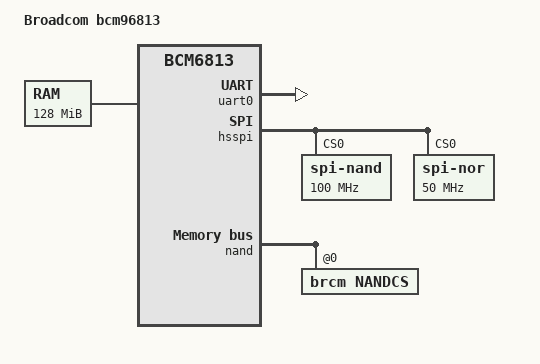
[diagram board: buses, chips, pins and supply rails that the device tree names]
// SPDX-License-Identifier: GPL-2.0+
/*
 *  Copyright 2020 Broadcom Ltd.
 */

/dts-v1/;

#include "bcm6813.dtsi"

/ {
	model = "Broadcom bcm96813";
	compatible = "broadcom,bcm96813", "brcm,bcm6813";

	aliases {
		serial0 = &uart0;
		spi1 = &hsspi;		
	};

	chosen {
		stdout-path = "serial0:115200n8";
	};

	memory {
		device_type = "memory";
		reg = <0x0 0x0 0x0 0x08000000>;
	};
	boot_state {
		u-boot,dm-pre-reloc;
		compatible = "brcm,bcmbca-bootstate-v2";
		reg-names = "reset_reason", "reset_status";
		reg =   <0x0 0xff802628 0x0 0x04>,
			<0x0 0xff85a01c 0x0 0x04>;
	};
};

&uart0 {
	u-boot,dm-pre-reloc;
	status = "okay";
};

&hsspi {
	status = "okay";
	spi-nand {
		pinctrl-0 = <&hs_spim_ss_0_b_pin_24>;
		pinctrl-names = "default";
		compatible = "spi-nand";
		reg = <0>;
		#address-cells = <1>;
		#size-cells = <0>;
		u-boot,dm-pre-reloc;
		spi-max-frequency = <100000000>;
	};

	spi-nor@0 {
		pinctrl-0 = <&hs_spim_ss_0_b_pin_24>;
		pinctrl-names = "default";
		compatible = "jedec,spi-nor";
		reg = <0>;
		#address-cells = <1>;
		#size-cells = <0>;
		spi-max-frequency = <50000000>;
		u-boot,dm-pre-reloc;
	};
};

&nand {
	pinctrl-0 = <&nand_data_pins &nand_ctrl_pins &nand_wp_b_pin_25>;
	pinctrl-names = "default";
	status = "okay";
	write-protect = <1>;
	#address-cells = <1>;
	#size-cells = <0>;

	nandcs@0 {
		compatible = "brcm,nandcs";
		reg = <0>;
	};
};

/* FIXME!
&rgmii {
	status = "okay";
};
*/

&mdio {
	phy_gphy0 {
		status = "okay";
	};

	phy_gphy1 {
		status = "okay";
	};

	phy_gphy2 {
		status = "okay";
	};

	phy_gphy3 {
		status = "okay";
	};
};

&switch0 {
	ports {
		port_gphy0 {
			status = "okay";
		};

		port_gphy1 {
			status = "okay";
		};

		port_gphy2 {
			status = "okay";
		};

		port_gphy3 {
			status = "okay";
		};
	};
};

